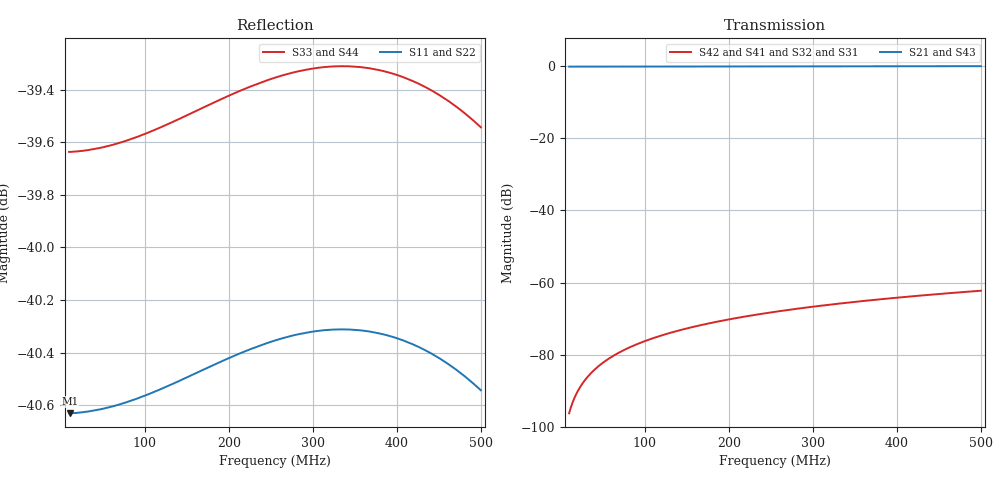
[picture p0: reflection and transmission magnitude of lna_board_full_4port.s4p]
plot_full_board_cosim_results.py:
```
import matplotlib.pyplot as plt
import numpy as np
import os
from parse_qucs import parse_qucs_dat
import skrf as rf

print("Generating full-board co-simulation comparison plots...")

script_dir = os.path.dirname(os.path.abspath(__file__))
repo_dir = os.path.dirname(script_dir)

# 1. Load data
freqs_fb, data_fb = parse_qucs_dat(os.path.join(script_dir, "lna_fm_98mhz_full_board_cosim.dat"))
freqs_fb = np.array(freqs_fb) / 1e6 # MHz

s11_fb = np.array(data_fb["S[1,1]"])
s21_fb = np.array(data_fb["S[2,1]"])
s12_fb = np.array(data_fb["S[1,2]"])
s22_fb = np.array(data_fb["S[2,2]"])

# Load Option A data
freqs_oa, data_oa = parse_qucs_dat(os.path.join(script_dir, "lna_fm_98mhz_cosim.dat"))
freqs_oa = np.array(freqs_oa) / 1e6 # MHz
s11_oa = np.array(data_oa["S[1,1]"])
s21_oa = np.array(data_oa["S[2,1]"])

# Load Baseline data
freqs_base, data_base = parse_qucs_dat(os.path.join(script_dir, "lna_fm_98mhz_qucs.dat"))
freqs_base = np.array(freqs_base) / 1e6 # MHz
s11_base = np.array(data_base["S[1,1]"])
s21_base = np.array(data_base["S[2,1]"])

# Load 4-port S-parameters directly for cross-talk
nw_4p = rf.Network(os.path.join(script_dir, "lna_board_full_4port.s4p"))
f_4p = nw_4p.f / 1e6
s31_iso = 20 * np.log10(np.abs(nw_4p.s[:, 2, 0]))
s41_iso = 20 * np.log10(np.abs(nw_4p.s[:, 3, 0]))

# Stability for full board
delta_fb = s11_fb * s22_fb - s12_fb * s21_fb
k_fb = (1.0 - np.abs(s11_fb)**2 - np.abs(s22_fb)**2 + np.abs(delta_fb)**2) / (2.0 * np.abs(s12_fb * s21_fb))

# Create 2x2 multi-panel figure
plt.style.use('seaborn-v0_8-whitegrid' if 'seaborn-v0_8-whitegrid' in plt.style.available else 'default')
fig, axs = plt.subplots(2, 2, figsize=(15, 11), dpi=300)

# Panel 1: Gain S21 (dB)
ax1 = axs[0, 0]
ax1.plot(freqs_fb, 20*np.log10(np.abs(s21_fb)), 'r-', lw=2.5, label="Full-Board 4-Port EM Co-Sim (.s4p)")
ax1.plot(freqs_oa, 20*np.log10(np.abs(s21_oa)), 'g--', lw=2.0, label="Option A Hierarchical EM Co-Sim (.s2p)")
ax1.plot(freqs_base, 20*np.log10(np.abs(s21_base)), 'b:', lw=1.8, label="Ideal Schematic Baseline")

idx_98 = np.argmin(np.abs(freqs_fb - 98.0))
g_98 = 20*np.log10(np.abs(s21_fb[idx_98]))
ax1.plot(98.0, g_98, 'ro', markersize=8)
ax1.annotate(f"98 MHz: {g_98:+.2f} dB", xy=(98.0, g_98), xytext=(120, g_98 + 1.5),
             arrowprops=dict(facecolor='red', shrink=0.08, width=1.5, headwidth=6),
             fontsize=10, fontweight='bold', bbox=dict(boxstyle='round,pad=0.3', facecolor='yellow', alpha=0.6))

ax1.set_title("Forward Gain |S21| vs Frequency (10 - 500 MHz)", fontsize=12, fontweight='bold')
ax1.set_xlabel("Frequency (MHz)", fontsize=10)
ax1.set_ylabel("Gain (dB)", fontsize=10)
ax1.set_xlim(10, 500)
ax1.set_ylim(-35, 25)
ax1.axvspan(88, 108, color='orange', alpha=0.15, label="FM Broadcast Band (88-108 MHz)")
ax1.legend(loc="lower right", fontsize=9)
ax1.grid(True, linestyle='--', alpha=0.6)

# Panel 2: Return Loss S11 (dB) & VSWR
ax2 = axs[0, 1]
ax2.plot(freqs_fb, 20*np.log10(np.abs(s11_fb)), 'r-', lw=2.5, label="Full-Board EM |S11|")
ax2.plot(freqs_oa, 20*np.log10(np.abs(s11_oa)), 'g--', lw=2.0, label="Option A |S11|")
ax2.plot(freqs_base, 20*np.log10(np.abs(s11_base)), 'b:', lw=1.8, label="Ideal Baseline |S11|")

rl_98 = 20*np.log10(np.abs(s11_fb[idx_98]))
vswr_98 = (1 + np.abs(s11_fb[idx_98])) / (1 - np.abs(s11_fb[idx_98]))
ax2.plot(98.0, rl_98, 'ro', markersize=8)
ax2.annotate(f"98 MHz: {rl_98:.1f} dB\n(VSWR {vswr_98:.3f}:1)", xy=(98.0, rl_98), xytext=(120, rl_98 + 8),
             arrowprops=dict(facecolor='red', shrink=0.08, width=1.5, headwidth=6),
             fontsize=10, fontweight='bold', bbox=dict(boxstyle='round,pad=0.3', facecolor='cyan', alpha=0.4))

ax2.axhline(-10.0, color='gray', linestyle=':', label="VSWR 2.0:1 (-9.54 dB)")
ax2.axhline(-20.0, color='darkgray', linestyle='--', label="VSWR 1.22:1 (-20 dB)")
ax2.set_title("Input Return Loss |S11| vs Frequency", fontsize=12, fontweight='bold')
ax2.set_xlabel("Frequency (MHz)", fontsize=10)
ax2.set_ylabel("Return Loss (dB)", fontsize=10)
ax2.set_xlim(10, 500)
ax2.set_ylim(-45, 0)
ax2.legend(loc="lower left", fontsize=9)
ax2.grid(True, linestyle='--', alpha=0.6)

# Panel 3: Reverse Isolation S12 & Substrate Cross-Talk S41 / S31
ax3 = axs[1, 0]
ax3.plot(freqs_fb, 20*np.log10(np.abs(s12_fb)), 'm-', lw=2.2, label="LNA Reverse Isolation |S12| (Circuit)")
ax3.plot(f_4p, s31_iso, 'c--', lw=2.0, label="PCB Substrate Near-End Cross-Talk |S31| (EM)")
ax3.plot(f_4p, s41_iso, 'b-.', lw=2.0, label="PCB Substrate Far-End Cross-Talk |S41| (EM)")

ax3.set_title("Reverse Isolation & Substrate Cross-Talk Isolation", fontsize=12, fontweight='bold')
ax3.set_xlabel("Frequency (MHz)", fontsize=10)
ax3.set_ylabel("Isolation (dB)", fontsize=10)
ax3.set_xlim(10, 500)
ax3.set_ylim(-100, -10)
ax3.legend(loc="upper right", fontsize=9)
ax3.grid(True, linestyle='--', alpha=0.6)

# Panel 4: Rollett Stability Factor K & |Delta|
ax4 = axs[1, 1]
ax4.plot(freqs_fb, k_fb, 'darkorange', lw=2.2, label="Rollett Factor K")
ax4.plot(freqs_fb, np.abs(delta_fb), 'purple', lw=2.0, label="|Delta|")
ax4.axhline(1.0, color='red', linestyle='--', label="K = 1.0 (Stability Threshold)")

ax4.set_title("Full-Board Stability Metrics (K & |Delta|)", fontsize=12, fontweight='bold')
ax4.set_xlabel("Frequency (MHz)", fontsize=10)
ax4.set_ylabel("Factor Value", fontsize=10)
ax4.set_xlim(10, 500)
ax4.set_ylim(0, 4.0)
ax4.legend(loc="upper right", fontsize=9)
ax4.grid(True, linestyle='--', alpha=0.6)

plt.suptitle("98 MHz FM Low-Noise Amplifier: Full-Board 3D EM Co-Simulation (openEMS + QUCS)\nOption 1: 4-Port Active-Interface Touchstone S4P Model",
             fontsize=14, fontweight='bold', y=0.98)

plt.tight_layout(rect=[0, 0, 1, 0.95])
out_img = os.path.join(repo_dir, "renders", "lna_full_board_cosim_results.png")
plt.savefig(out_img, bbox_inches='tight')
print(f"Saved comparison plot to: {out_img}")
```
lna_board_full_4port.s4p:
! Created with skrf 2.1.0 (http://scikit-rf.org).
# MHz S RI R 50.0
!freq ReS11 ImS11 ReS12 ImS12 ReS13 ImS13
! ReS14 ImS14
! ReS21 ImS21 ReS22 ImS22 ReS23 ImS23
! ReS24 ImS24
! ReS31 ImS31 ReS32 ImS32 ReS33 ImS33
! ReS34 ImS34
! ReS41 ImS41 ReS42 ImS42 ReS43 ImS43
! ReS44 ImS44
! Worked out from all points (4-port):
!   491 points, 10 MHz to 500 MHz, reference 50 ohm
!   strongest paths, dB at 10 MHz, 132 MHz, 255 MHz, 378 MHz, 500 MHz:
!     S21: -0.1, -0.1, -0.1, 0.0, 0.0
!     S43: -0.2, -0.1, -0.1, 0.0, 0.0
!     S42: -96.2, -73.8, -68.1, -64.7, -62.2
!     S41: -96.2, -73.8, -68.1, -64.7, -62.2
!     S32: -96.2, -73.8, -68.1, -64.7, -62.2
!     S31: -96.2, -73.8, -68.1, -64.7, -62.2
!   lowest |S11| = -40.6 dB at 11 MHz (marker M1), VSWR 1.02, Z = 49.1 + j0.0454 ohm
!   |S11| at or under -10 dB: start of sweep to end of sweep
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10  -0.00929 0.00042  0.9838 -0.00273  1.54e-05 -1.72e-07  1.54e-05 -1.72e-07
    0.9838 -0.00273  -0.00929 0.00042  1.54e-05 -1.72e-07  1.54e-05 -1.72e-07
    1.54e-05 -1.72e-07  1.54e-05 -1.72e-07  -0.0104 0.000475  0.9819 -0.00306
    1.54e-05 -1.72e-07  1.54e-05 -1.72e-07  0.9819 -0.00306  -0.0104 0.000475
11  -0.00929 0.000462  0.9838 -0.003  1.7e-05 -2.08e-07  1.7e-05 -2.08e-07
    0.9838 -0.003  -0.00929 0.000462  1.7e-05 -2.08e-07  1.7e-05 -2.08e-07
    1.7e-05 -2.08e-07  1.7e-05 -2.08e-07  -0.0104 0.000522  0.9819 -0.00337
    1.7e-05 -2.08e-07  1.7e-05 -2.08e-07  0.9819 -0.00337  -0.0104 0.000522
500  -0.00101 0.00934  0.9857 -0.1566  0.000655 -0.000408  0.000655 -0.000408
     0.9857 -0.1566  -0.00101 0.00934  0.000655 -0.000408  0.000655 -0.000408
     0.000655 -0.000408  0.000655 -0.000408  -0.000934 0.0105  0.9822 -0.1757
     0.000655 -0.000408  0.000655 -0.000408  0.9822 -0.1757  -0.000934 0.0105
